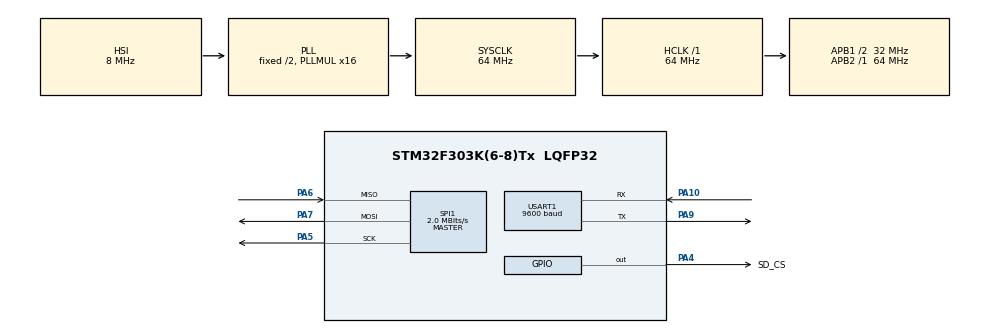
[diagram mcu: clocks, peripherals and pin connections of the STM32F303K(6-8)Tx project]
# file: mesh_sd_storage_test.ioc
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FATFS._FS_REENTRANT=0
FREERTOS.MEMORY_ALLOCATION=0
FREERTOS.Tasks01=defaultTask,0,128,StartDefaultTask,Default,NULL,Dynamic,NULL,NULL
Mcu.Family=STM32F3
Mcu.Name=STM32F303K(6-8)Tx
Mcu.Package=LQFP32
NVIC.PriorityGroup=NVIC_PRIORITYGROUP_4
NVIC.TIM6_DAC1_IRQn=true\:15\:0\:false\:false\:true\:false\:false\:true
NVIC.TimeBase=TIM6_DAC1_IRQn
NVIC.TimeBaseIP=TIM6
NVIC.USART1_IRQn=true\:5\:0\:false\:false\:true\:true\:true\:true
PA10.Mode=Asynchronous
PA10.Signal=USART1_RX
PA13.GPIO_Label=SWDIO
PA13.Mode=Trace_Asynchronous_SW
PA13.Signal=SYS_JTMS-SWDIO
PA14.GPIO_Label=SWCLK
PA14.Mode=Trace_Asynchronous_SW
PA14.Signal=SYS_JTCK-SWCLK
PA4.GPIO_Label=SD_CS
PA4.Signal=GPIO_Output
PA5.Mode=Full_Duplex_Master
PA5.Signal=SPI1_SCK
PA6.Mode=Full_Duplex_Master
PA6.Signal=SPI1_MISO
PA7.Mode=Full_Duplex_Master
PA7.Signal=SPI1_MOSI
PA9.Mode=Asynchronous
PA9.Signal=USART1_TX
PB3.Mode=Trace_Asynchronous_SW
PB3.Signal=SYS_JTDO-TRACESWO
ProjectManager.HeapSize=0x200
ProjectManager.StackSize=0x400
ProjectManager.TargetToolchain=STM32CubeIDE
RCC.AHBFreq_Value=64000000
RCC.APB1CLKDivider=RCC_HCLK_DIV2
RCC.APB1Freq_Value=32000000
RCC.APB1TimFreq_Value=64000000
RCC.APB2Freq_Value=64000000
RCC.APB2TimFreq_Value=64000000
RCC.CortexFreq_Value=64000000
RCC.HCLKFreq_Value=64000000
RCC.HSE_VALUE=8000000
RCC.HSI_VALUE=8000000
RCC.PLLMUL=RCC_PLL_MUL16
RCC.SYSCLKFreq_VALUE=64000000
RCC.SYSCLKSourceVirtual=RCC_SYSCLKSOURCE_PLLCLK
SPI1.BaudRatePrescaler=SPI_BAUDRATEPRESCALER_32
SPI1.CalculateBaudRate=2.0 MBits/s
SPI1.DataSize=SPI_DATASIZE_8BIT
SPI1.Direction=SPI_DIRECTION_2LINES
SPI1.Mode=SPI_MODE_MASTER
SPI1.VirtualType=VM_MASTER
USART1.BaudRate=9600
USART1.VirtualMode-Asynchronous=VM_ASYNC
VP_FATFS_VS_Generic.Mode=User_defined
VP_FREERTOS_VS_CMSIS_V1.Mode=CMSIS_V1
VP_RTC_VS_RTC_Activate.Mode=RTC_Enabled
VP_RTC_VS_RTC_Calendar.Mode=RTC_Calendar
VP_SYS_VS_tim6.Mode=TIM6
board=NUCLEO-F303K8

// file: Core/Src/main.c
/* USER CODE BEGIN Header */
/**
 ******************************************************************************
 * @file           : main.c
 * @brief          : Main program body
 ******************************************************************************
 * @attention
 *
 * Copyright (c) 2022 STMicroelectronics.
 * All rights reserved.
 *
 * This software is licensed under terms that can be found in the LICENSE file
 * in the root directory of this software component.
 * If no LICENSE file comes with this software, it is provided AS-IS.
 *
 ******************************************************************************
 */
/* USER CODE END Header */
#include "main.h"
#include "fatfs.h"
#include "rtc.h"
#include "spi.h"
#include "usart.h"
#include "gpio.h"

/* USER CODE BEGIN PD */
#define INIT_RTC			1
#define HOURS				0x21
#define MINUTES				0x37
#define SECONDS				0x00
#define DAY_LIGHT_SAVING	RTC_DAYLIGHTSAVING_NONE
#define STORE_OPERATION		RTC_STOREOPERATION_RESET
#define WEEK_DAY			RTC_WEEKDAY_SUNDAY
#define	MONTH				RTC_MONTH_MARCH
#define DATE				0x27
#define YEAR				0x22
/* USER CODE END PD */

/* USER CODE BEGIN PV */
uint8_t uart_buffer[MESSAGE_SIZE] = { 0 };
/* USER CODE END PV */

void SystemClock_Config(void);
void MX_FREERTOS_Init(void);
/* USER CODE BEGIN PFP */
void init_rtc();
/* USER CODE END PFP */

int main(void) {

	/* MCU Configuration--------------------------------------------------------*/

	/* Reset of all peripherals, Initializes the Flash interface and the Systick. */
	HAL_Init();

	/* Configure the system clock */
	SystemClock_Config();

	/* Initialize all configured peripherals */
	MX_GPIO_Init();
	MX_USART1_UART_Init();
	MX_RTC_Init();
	MX_FATFS_Init();
	MX_SPI1_Init();
	/* USER CODE BEGIN 2 */
#if INIT_RTC
	init_rtc();
#endif
	/* USER CODE END 2 */

	/* Call init function for freertos objects (in freertos.c) */
	MX_FREERTOS_Init();

	/* We should never get here as control is now taken by the scheduler */
	/* Infinite loop */
	/* USER CODE BEGIN WHILE */
	vTaskStartScheduler();
	while (1) {
		/* USER CODE END WHILE */

	}
}

void SystemClock_Config(void) {
	RCC_OscInitTypeDef RCC_OscInitStruct = { 0 };
	RCC_ClkInitTypeDef RCC_ClkInitStruct = { 0 };
	RCC_PeriphCLKInitTypeDef PeriphClkInit = { 0 };

	/** Initializes the RCC Oscillators according to the specified parameters
	 * in the RCC_OscInitTypeDef structure.
	 */
	RCC_OscInitStruct.OscillatorType = RCC_OSCILLATORTYPE_HSI
			| RCC_OSCILLATORTYPE_LSI;
	RCC_OscInitStruct.HSIState = RCC_HSI_ON;
	RCC_OscInitStruct.HSICalibrationValue = RCC_HSICALIBRATION_DEFAULT;
	RCC_OscInitStruct.LSIState = RCC_LSI_ON;
	RCC_OscInitStruct.PLL.PLLState = RCC_PLL_ON;
	RCC_OscInitStruct.PLL.PLLSource = RCC_PLLSOURCE_HSI;
	RCC_OscInitStruct.PLL.PLLMUL = RCC_PLL_MUL16;
	if (HAL_RCC_OscConfig(&RCC_OscInitStruct) != HAL_OK) {
		Error_Handler();
	}
	/** Initializes the CPU, AHB and APB buses clocks
	 */
	RCC_ClkInitStruct.ClockType = RCC_CLOCKTYPE_HCLK | RCC_CLOCKTYPE_SYSCLK
			| RCC_CLOCKTYPE_PCLK1 | RCC_CLOCKTYPE_PCLK2;
	RCC_ClkInitStruct.SYSCLKSource = RCC_SYSCLKSOURCE_PLLCLK;
	RCC_ClkInitStruct.AHBCLKDivider = RCC_SYSCLK_DIV1;
	RCC_ClkInitStruct.APB1CLKDivider = RCC_HCLK_DIV2;
	RCC_ClkInitStruct.APB2CLKDivider = RCC_HCLK_DIV1;

	if (HAL_RCC_ClockConfig(&RCC_ClkInitStruct, FLASH_LATENCY_2) != HAL_OK) {
		Error_Handler();
	}
	PeriphClkInit.PeriphClockSelection = RCC_PERIPHCLK_USART1
			| RCC_PERIPHCLK_RTC;
	PeriphClkInit.Usart1ClockSelection = RCC_USART1CLKSOURCE_PCLK1;
	PeriphClkInit.RTCClockSelection = RCC_RTCCLKSOURCE_LSI;
	if (HAL_RCCEx_PeriphCLKConfig(&PeriphClkInit) != HAL_OK) {
		Error_Handler();
	}
}

/* USER CODE BEGIN 4 */
void init_rtc() {
	RTC_TimeTypeDef time;
	RTC_DateTypeDef date;

	time.Hours = HOURS;
	time.Minutes = MINUTES;
	time.Seconds = SECONDS;
	time.DayLightSaving = DAY_LIGHT_SAVING;
	time.StoreOperation = STORE_OPERATION;
	if (HAL_RTC_SetTime(&hrtc, &time, RTC_FORMAT_BCD) != HAL_OK)
		Error_Handler();

	date.WeekDay = WEEK_DAY;
	date.Month = MONTH;
	date.Date = DATE;
	date.Year = YEAR;
	if (HAL_RTC_SetDate(&hrtc, &date, RTC_FORMAT_BCD) != HAL_OK)
		Error_Handler();

	//HAL_RTCEx_BKUPWrite(&hrtc, RTC_BKP_DR1, 0x32F2); // backup register
}
/* USER CODE END 4 */

void HAL_TIM_PeriodElapsedCallback(TIM_HandleTypeDef *htim) {
	if (htim->Instance == TIM6) {
		HAL_IncTick();
	}
}

void Error_Handler(void) {
	__disable_irq();
	while (1) {
	}
}

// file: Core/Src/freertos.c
/* USER CODE BEGIN Header */
/**
 ******************************************************************************
 * File Name          : freertos.c
 * Description        : Code for freertos applications
 ******************************************************************************
 * @attention
 *
 * Copyright (c) 2022 STMicroelectronics.
 * All rights reserved.
 *
 * This software is licensed under terms that can be found in the LICENSE file
 * in the root directory of this software component.
 * If no LICENSE file comes with this software, it is provided AS-IS.
 *
 ******************************************************************************
 */
/* USER CODE END Header */

#include "FreeRTOS.h"
#include "task.h"
#include "main.h"

/* USER CODE BEGIN Includes */
#include "timers.h"
#include "queue.h"
#include "semphr.h"
#include "event_groups.h"
#include "string.h"
#include "rtc.h"
#include "stdio.h"
#include "fatfs.h"
/* USER CODE END Includes */

/* USER CODE BEGIN PD */
#define LOG_SIZE			40
#define TIMESTAMP_SIZE		13
#define CONVERSION_SIZE		3
#define EXTENSION_SIZE		4
/* USER CODE END PD */

/* USER CODE BEGIN Variables */
extern UART_HandleTypeDef huart1;
extern uint8_t uart_buffer[MESSAGE_SIZE];

extern FRESULT retUSER; /* Return value for USER */
extern char USERPath[4]; /* USER logical drive path */
extern FATFS USERFatFS; /* File system object for USER logical drive */
extern FIL USERFile; /* File object for USER */

TaskHandle_t read_rtc_task;
TaskHandle_t build_log_task;
TaskHandle_t write_sd_task;
QueueHandle_t logs;

struct date_time {
	RTC_DateTypeDef date;
	RTC_TimeTypeDef time;
};

struct log {
	char msg[LOG_SIZE];
	uint8_t log_length;
	uint8_t file_name_length;
	struct date_time timestamp;
};
/* USER CODE END Variables */

/* USER CODE BEGIN FunctionPrototypes */
void read_rtc();
void build_log();
void write_sd();

void get_time(struct date_time *t);
/* USER CODE END FunctionPrototypes */

void MX_FREERTOS_Init(void); /* (MISRA C 2004 rule 8.1) */

void MX_FREERTOS_Init(void) {

	/* USER CODE BEGIN RTOS_QUEUES */
	logs = xQueueCreate(5, sizeof(struct log));
	if (logs == NULL)
		Error_Handler();
	/* USER CODE END RTOS_QUEUES */

	/* Create the thread(s) */
	/* definition and creation of defaultTask */

	/* USER CODE BEGIN RTOS_THREADS */
	xTaskCreate(read_rtc, "read_rtc", 150, NULL, 2, &read_rtc_task);
	xTaskCreate(build_log, "build_log", 150, NULL, 3, &build_log_task);
	xTaskCreate(write_sd, "write_sd", 310, NULL, 4, &write_sd_task);
	/* USER CODE END RTOS_THREADS */
}

/* USER CODE BEGIN Application */
void read_rtc() {
	struct log mesh_log;
	for (;;) {
		if (ulTaskNotifyTake(pdTRUE, 10) != 1)
			continue;

		if (uart_buffer[0] != ':') {
			memset(uart_buffer, 0, MESSAGE_SIZE);
			HAL_UART_Receive_IT(&huart1, uart_buffer, MESSAGE_SIZE);
			continue;
		}

		memcpy(mesh_log.msg, uart_buffer, MESSAGE_SIZE);
		memset(uart_buffer, 0, MESSAGE_SIZE);
		get_time(&mesh_log.timestamp);
		xQueueSendToBack(logs, (void *)&mesh_log, (TickType_t )5);

		HAL_UART_Receive_IT(&huart1, uart_buffer, MESSAGE_SIZE);
		xTaskNotifyGive(build_log_task);
	}
}

void build_log() {
	struct log mesh_log;
	for (;;) {
		if (ulTaskNotifyTake(pdTRUE, 20) != 1)
			continue;

		if (xQueueReceive(logs, (void *)&mesh_log, (TickType_t) 2) == pdFALSE)
			continue;

		char conversion[CONVERSION_SIZE] = { 0 };

		mesh_log.msg[MESSAGE_SIZE - 1] = ' ';
		mesh_log.msg[MESSAGE_SIZE] = '\0';

		mesh_log.file_name_length = sprintf(conversion, "%02d", mesh_log.timestamp.date.Date);
		strcat(mesh_log.msg, conversion);
		mesh_log.file_name_length += sprintf(conversion, "%02d", mesh_log.timestamp.date.Month);
		strcat(mesh_log.msg, conversion);
		mesh_log.file_name_length += sprintf(conversion, "%2d", mesh_log.timestamp.date.Year);
		strcat(mesh_log.msg, conversion);

		mesh_log.log_length = mesh_log.file_name_length;

		mesh_log.log_length += sprintf(conversion, "%02d", mesh_log.timestamp.time.Hours);
		strcat(mesh_log.msg, conversion);
		mesh_log.log_length += sprintf(conversion, "%02d", mesh_log.timestamp.time.Minutes);
		strcat(mesh_log.msg, conversion);
		mesh_log.log_length += sprintf(conversion, "%02d", mesh_log.timestamp.time.Seconds);
		strcat(mesh_log.msg, conversion);

		mesh_log.log_length += 1 + MESSAGE_SIZE;
		mesh_log.msg[mesh_log.log_length - 1] = '\n';

		xQueueSendToBack(logs, (void *)&mesh_log, (TickType_t )5);
		xTaskNotifyGive(write_sd_task);
	}
}
/*
*	extern uint8_t retUSER	->	Return value for USER
*	extern char USERPath[4]	->	USER logical drive path
*	extern FATFS USERFatFS	->	File system object for USER logical drive
*	extern FIL USERFile		->	File object for USER
*/
void write_sd() {
	struct log mesh_log;
	UINT bw = 0;
	const char *txt_ext = ".txt";
	HAL_UART_Receive_IT(&huart1, uart_buffer, MESSAGE_SIZE);
	for (;;) {
		if (ulTaskNotifyTake(pdTRUE, 100) != 1)
			continue;

		if (xQueueReceive(logs, (void *)&mesh_log, (TickType_t)2) == pdFALSE)
			continue;

		char *file_name = pvPortMalloc(
				(mesh_log.file_name_length + 1 + EXTENSION_SIZE) * sizeof(char));

		memcpy(file_name, &mesh_log.msg[MESSAGE_SIZE], mesh_log.file_name_length);
//		for (int i = 0; i < mesh_log.file_name_length + 1; i++)
//			file_name[i] = mesh_log.msg[MESSAGE_SIZE + i];

		file_name[mesh_log.file_name_length] = '\0';
		strcat(file_name, txt_ext);

		retUSER = f_mount(&USERFatFS, "/", 1);
		retUSER = f_open(&USERFile, file_name, FA_OPEN_ALWAYS | FA_READ | FA_WRITE);
		retUSER = f_lseek(&USERFile, f_size(&USERFile));
		retUSER = f_write(&USERFile, (void *)mesh_log.msg, mesh_log.log_length, &bw);
		retUSER = f_close(&USERFile);
		retUSER = f_mount(0, "/", 1);

		vPortFree(file_name);
	}
}

void get_time(struct date_time *t) {
	HAL_RTC_GetTime(&hrtc, &t->time, RTC_FORMAT_BIN);
	HAL_RTC_GetDate(&hrtc, &t->date, RTC_FORMAT_BIN);
}
/* USER CODE END Application */
